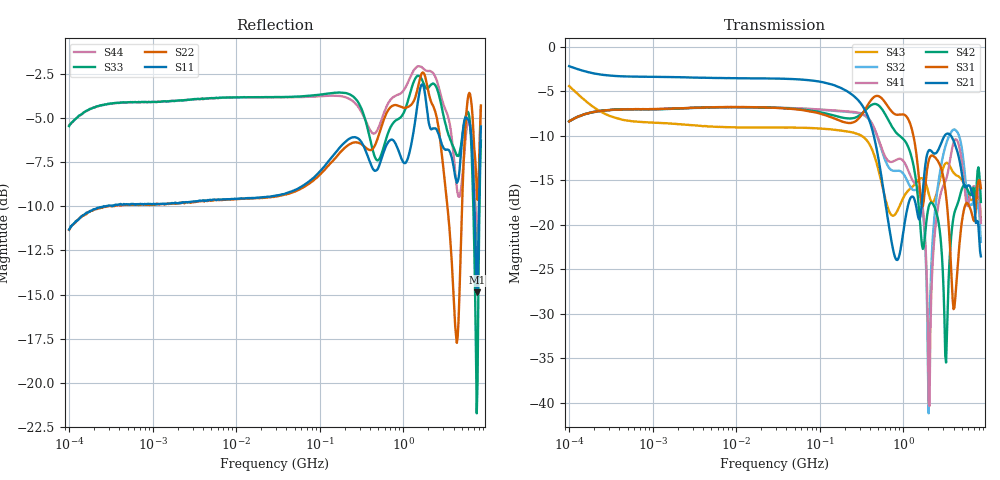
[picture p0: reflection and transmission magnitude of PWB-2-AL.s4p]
# MHz S MA R 50
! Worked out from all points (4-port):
!   498 points, 100 kHz to 8.5 GHz, reference 50 ohm
!   strongest paths, dB at 100 kHz, 1.698 MHz, 29.49 MHz, 500.7 MHz, 8.5 GHz:
!     S21: -2.2, -3.4, -3.6, -12.4, -23.6
!     S31: -8.4, -7.0, -6.9, -5.5, -15.9
!     S42: -8.4, -7.0, -6.9, -6.6, -17.4
!     S41: -8.4, -7.0, -6.8, -10.3, -19.8
!     S32: -8.4, -7.0, -6.9, -10.4, -21.9
!     S43: -4.4, -8.6, -9.1, -13.7, -19.5
!   lowest |S11| = -14.9 dB at 7.583 GHz (marker M1), VSWR 1.44, Z = 41.3 + j14.2 ohm
!   |S11| at or under -10 dB: start of sweep to 258.4 kHz; 266 kHz to 274 kHz (7.967 kHz wide, 2.95 % of centre); 7.116 GHz to 8.064 GHz (947.8 MHz wide, 12.5 % of centre)
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0.1  0.2719 31.3  0.7771 -10.6  0.3805 31.6  0.3793 -148.5
     0.7771 -10.6  0.2712 32.8  0.3804 -148.9  0.3817 31.0
     0.3805 31.6  0.3804 -148.9  0.5338 30.5  0.6008 -27.0
     0.3793 -148.5  0.3817 31.0  0.6008 -27.0  0.5365 30.5
347.4163  0.46 -33.8  0.4416 -109.1  0.4422 -27.8  0.4121 58.7
          0.4416 -109.1  0.4662 -23.5  0.4095 58.1  0.4366 -40.0
          0.4422 -27.8  0.4095 58.1  0.5614 -46.5  0.3058 -122.8
          0.4121 58.7  0.4366 -40.0  0.3058 -122.8  0.5593 -38.7
2062.915  0.5348 -168.8  0.263 -138.3  0.2369 154.8  0.009607 -121.9
          0.263 -138.3  0.6476 -177.7  0.0228 -61.9  0.1303 155.1
          0.2369 154.8  0.0228 -61.9  0.692 -167.3  0.1436 -122.6
          0.009607 -121.9  0.1303 155.1  0.1436 -122.6  0.7658 -171.4
3651.237  0.4492 46.5  0.3193 35.2  0.07131 -88.1  0.2343 72.3
          0.3193 35.2  0.2558 14.0  0.3244 60.0  0.07307 94.4
          0.07131 -88.1  0.3244 60.0  0.4888 30.4  0.2114 69.3
          0.2343 72.3  0.07307 94.4  0.2114 69.3  0.5318 11.8
6034.534  0.555 -116.9  0.1665 164.0  0.1298 -138.7  0.1322 167.9
          0.1665 164.0  0.655 -111.0  0.1304 145.6  0.1534 -177.5
          0.1298 -138.7  0.1304 145.6  0.5827 -124.2  0.1461 -163.9
          0.1322 167.9  0.1534 -177.5  0.1461 -163.9  0.5505 -116.0
7582.758  0.1803 112.8  0.1032 7.4  0.1501 67.6  0.1608 5.0
          0.1032 7.4  0.3574 126.8  0.1265 4.1  0.1711 25.3
          0.1501 67.6  0.1265 4.1  0.08192 102.7  0.1428 54.6
          0.1608 5.0  0.1711 25.3  0.1428 54.6  0.2462 133.2
8500  0.5328 -44.3  0.06642 -87.1  0.1607 -53.7  0.1022 -121.0
      0.06642 -87.1  0.6109 -39.3  0.08014 -117.4  0.1343 -109.9
      0.1607 -53.7  0.08014 -117.4  0.4861 -44.3  0.1065 -67.4
      0.1022 -121.0  0.1343 -109.9  0.1065 -67.4  0.6034 -39.6
